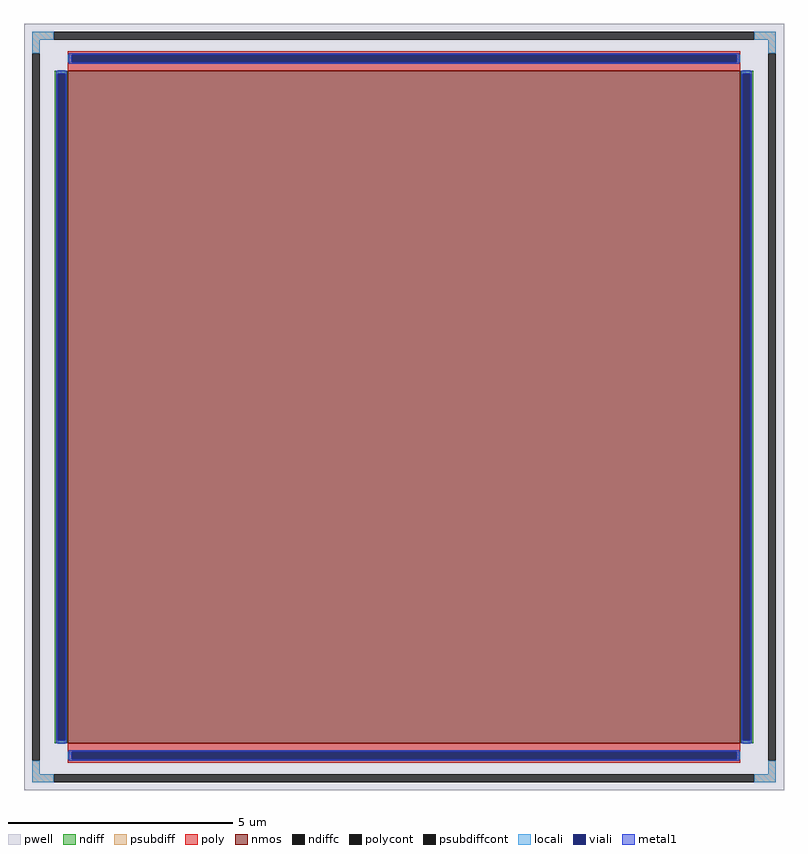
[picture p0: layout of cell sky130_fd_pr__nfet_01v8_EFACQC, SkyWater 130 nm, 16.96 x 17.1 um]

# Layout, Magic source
magic
tech sky130A
<< pwell >>
rect -848 -855 848 855
<< nmos >>
rect -750 -750 750 750
<< ndiff >>
rect -779 744 -750 750
rect -779 -744 -773 744
rect -756 -744 -750 744
rect -779 -750 -750 -744
rect 750 744 779 750
rect 750 -744 756 744
rect 773 -744 779 744
rect 750 -750 779 -744
<< ndiffc >>
rect -773 -744 -756 744
rect 756 -744 773 744
<< psubdiff >>
rect -830 820 -782 837
rect 782 820 830 837
rect -830 789 -813 820
rect 813 789 830 820
rect -830 -820 -813 -789
rect 813 -820 830 -789
rect -830 -837 -782 -820
rect 782 -837 830 -820
<< psubdiffcont >>
rect -782 820 782 837
rect -830 -789 -813 789
rect 813 -789 830 789
rect -782 -837 782 -820
<< poly >>
rect -750 786 750 794
rect -750 769 -742 786
rect 742 769 750 786
rect -750 750 750 769
rect -750 -769 750 -750
rect -750 -786 -742 -769
rect 742 -786 750 -769
rect -750 -794 750 -786
<< polycont >>
rect -742 769 742 786
rect -742 -786 742 -769
<< locali >>
rect -830 820 -782 837
rect 782 820 830 837
rect -830 789 -813 820
rect 813 789 830 820
rect -750 769 -742 786
rect 742 769 750 786
rect -773 744 -756 752
rect -773 -752 -756 -744
rect 756 744 773 752
rect 756 -752 773 -744
rect -750 -786 -742 -769
rect 742 -786 750 -769
rect -830 -820 -813 -789
rect 813 -820 830 -789
rect -830 -837 -782 -820
rect 782 -837 830 -820
<< viali >>
rect -742 769 742 786
rect -773 -744 -756 744
rect 756 -744 773 744
rect -742 -786 742 -769
<< metal1 >>
rect -748 786 748 789
rect -748 769 -742 786
rect 742 769 748 786
rect -748 766 748 769
rect -776 744 -753 750
rect -776 -744 -773 744
rect -756 -744 -753 744
rect -776 -750 -753 -744
rect 753 744 776 750
rect 753 -744 756 744
rect 773 -744 776 744
rect 753 -750 776 -744
rect -748 -769 748 -766
rect -748 -786 -742 -769
rect 742 -786 748 -769
rect -748 -789 748 -786
<< properties >>
string FIXED_BBOX -821 -828 821 828
string gencell sky130_fd_pr__nfet_01v8
string library sky130
string parameters w 15 l 15 m 1 nf 1 diffcov 100 polycov 100 guard 1 glc 1 grc 1 gtc 1 gbc 1 tbcov 100 rlcov 100 topc 1 botc 1 poverlap 0 doverlap 1 lmin 0.15 wmin 0.42 compatible {sky130_fd_pr__nfet_01v8 sky130_fd_pr__nfet_01v8_lvt  sky130_fd_bs_flash__special_sonosfet_star  sky130_fd_pr__nfet_g5v0d10v5 sky130_fd_pr__nfet_05v0_nvt  sky130_fd_pr__nfet_03v3_nvt} full_metal 1 viasrc 100 viadrn 100 viagate 100 viagb 0 viagr 0 viagl 0 viagt 0
<< end >>
